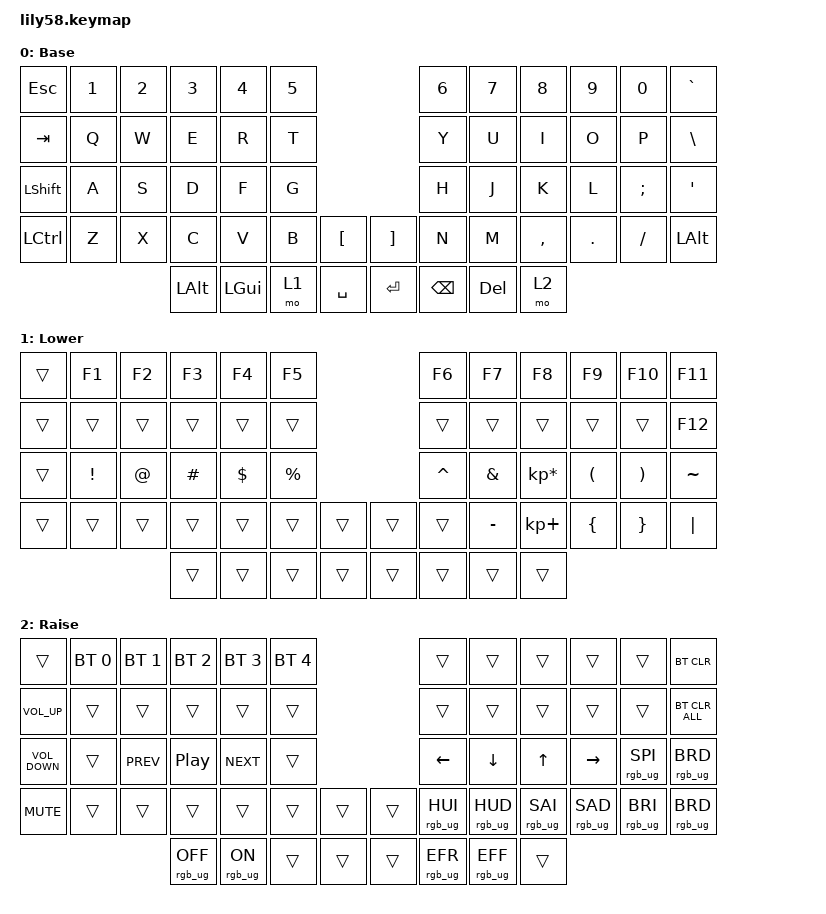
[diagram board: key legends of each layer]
/*
 * Copyright (c) 2020 The ZMK Contributors
 *
 * SPDX-License-Identifier: MIT
 */

#include <behaviors.dtsi>
#include <dt-bindings/zmk/bt.h>
#include <dt-bindings/zmk/keys.h>
#include <dt-bindings/zmk/rgb.h>

/ {
    macros {
        eq: eq {
            compatible = "zmk,behavior-macro";
            #binding-cells = <0>;
            bindings = <&kp EQUAL &kp EQUAL>;
            label = "EQ";
        };

        neq: neq {
            compatible = "zmk,behavior-macro";
            #binding-cells = <0>;
            bindings = <&kp EXCL &kp EQUAL &kp EQUAL>;
            label = "NEQ";
        };

        emptyfunc: emptyfunc {
            compatible = "zmk,behavior-macro";
            #binding-cells = <0>;
            bindings = <&kp LPAR &kp RPAR &kp SPACE &kp EQUAL &kp GT &kp SPACE &kp RBKT &kp RBRC>;
            label = "EMPTYFUNC";
        };
    };

    combos {
        compatible = "zmk,combos";

        emptyfunccombo {
            bindings = <&emptyfunc>;
            key-positions = <32 33>;
        };
    };

    keymap {
        compatible = "zmk,keymap";

        default_layer {
            // ------------------------------------------------------------------------------------------------------------
            // |  ESC  |  1  |  2  |  3   |  4   |  5   |                   |  6   |  7    |  8    |  9   |   0   |   `   |
            // |  TAB  |  Q  |  W  |  E   |  R   |  T   |                   |  Y   |  U    |  I    |  O   |   P   |   -   |
            // |  CTRL |  A  |  S  |  D   |  F   |  G   |                   |  H   |  J    |  K    |  L   |   ;   |   '   |
            // | SHIFT |  Z  |  X  |  C   |  V   |  B   |   "["  |  |  "]"  |  N   |  M    |  ,    |  .   |   /   | SHIFT |
            //                     | ALT  | GUI  | LOWER|  SPACE |  | ENTER | RAISE| BSPC  | GUI   |

            display-name = "Base";
            bindings = <
&kp ESC     &kp N1  &kp N2  &kp N3        &kp N4    &kp N5                          &kp N6         &kp N7      &kp N8     &kp N9   &kp N0    &kp GRAVE
&kp TAB     &kp Q   &kp W   &kp E         &kp R     &kp T                           &kp Y          &kp U       &kp I      &kp O    &kp P     &kp BACKSLASH
&kp LSHIFT  &kp A   &kp S   &kp D         &kp F     &kp G                           &kp H          &kp J       &kp K      &kp L    &kp SEMI  &kp SQT
&kp LCTRL   &kp Z   &kp X   &kp C         &kp V     &kp B   &kp LBKT     &kp RBKT   &kp N          &kp M       &kp COMMA  &kp DOT  &kp FSLH  &kp LEFT_ALT
                            &kp LEFT_ALT  &kp LGUI  &mo 1   &kp SPACE    &kp ENTER  &kp BACKSPACE  &kp DELETE  &mo 2
            >;
        };

        lower_layer {
            // ------------------------------------------------------------------------------------------------------------
            // | BTCLR | BT1 | BT2 |  BT3 |  BT4 |  BT5 |                   |      |       |       |      |       |       |
            // |  F1   |  F2 |  F3 |  F4  |  F5  |  F6  |                   |  F7  |  F8   |  F9   |  F10 |  F11  |  F12  |
            // |   `   |  !  |  @  |  #   |  $   |  %   |                   |  ^   |  &    |  *    |  (   |   )   |   ~   |
            // |       |     |     |      |      |      |        |  |       |      |  _    |  +    |  {   |   }   |  "|"  |
            //                     |      |      |      |        |  |       |      |       |       |

            display-name = "Lower";
            bindings = <
&trans  &kp F1           &kp F2  &kp F3    &kp F4      &kp F5                         &kp F6     &kp F7         &kp F8           &kp F9                &kp F10                &kp F11
&trans  &trans           &trans  &trans    &trans      &trans                         &trans     &trans         &trans           &trans                &trans                 &kp F12
&trans  &kp EXCLAMATION  &kp AT  &kp HASH  &kp DOLLAR  &kp PERCENT                    &kp CARET  &kp AMPERSAND  &kp KP_MULTIPLY  &kp LEFT_PARENTHESIS  &kp RIGHT_PARENTHESIS  &kp TILDE
&trans  &trans           &trans  &trans    &trans      &trans       &trans    &trans  &trans     &kp MINUS      &kp KP_PLUS      &kp LEFT_BRACE        &kp RIGHT_BRACE        &kp PIPE
                                 &trans    &trans      &trans       &trans    &trans  &trans     &trans         &trans
            >;
        };

        raise_layer {
            // ------------------------------------------------------------------------------------------------------------
            // |       |     |     |      |      |      |                   |      |       |       |      |       |       |
            // |   `   |  1  |  2  |  3   |  4   |  5   |                   |  6   |   7   |   8   |  9   |   0   |       |
            // |   F1  |  F2 |  F3 |  F4  |  F5  |  F6  |                   |      |   <-  |   v   |  ^   |  ->   |       |
            // |   F7  |  F8 |  F9 |  F10 |  F11 |  F12 |        |  |       |  +   |   -   |   =   |  [   |   ]   |   \   |
            //                     |      |      |      |        |  |       |      |       |       |

            display-name = "Raise";
            bindings = <
&trans             &bt BT_SEL 0  &bt BT_SEL 1  &bt BT_SEL 2      &bt BT_SEL 3    &bt BT_SEL 4                    &trans           &trans           &trans           &trans           &trans           &bt BT_CLR
&kp C_VOL_UP       &trans        &trans        &trans            &trans          &trans                          &trans           &trans           &trans           &trans           &trans           &bt BT_CLR_ALL
&kp C_VOLUME_DOWN  &trans        &kp C_PREV    &kp C_PLAY_PAUSE  &kp C_NEXT      &trans                          &kp LEFT         &kp DOWN         &kp UP           &kp RIGHT        &rgb_ug RGB_SPI  &rgb_ug RGB_BRD
&kp C_MUTE         &trans        &trans        &trans            &trans          &trans        &trans    &trans  &rgb_ug RGB_HUI  &rgb_ug RGB_HUD  &rgb_ug RGB_SAI  &rgb_ug RGB_SAD  &rgb_ug RGB_BRI  &rgb_ug RGB_BRD
                                               &rgb_ug RGB_OFF   &rgb_ug RGB_ON  &trans        &trans    &trans  &rgb_ug RGB_EFR  &rgb_ug RGB_EFF  &trans
            >;
        };
    };
};
